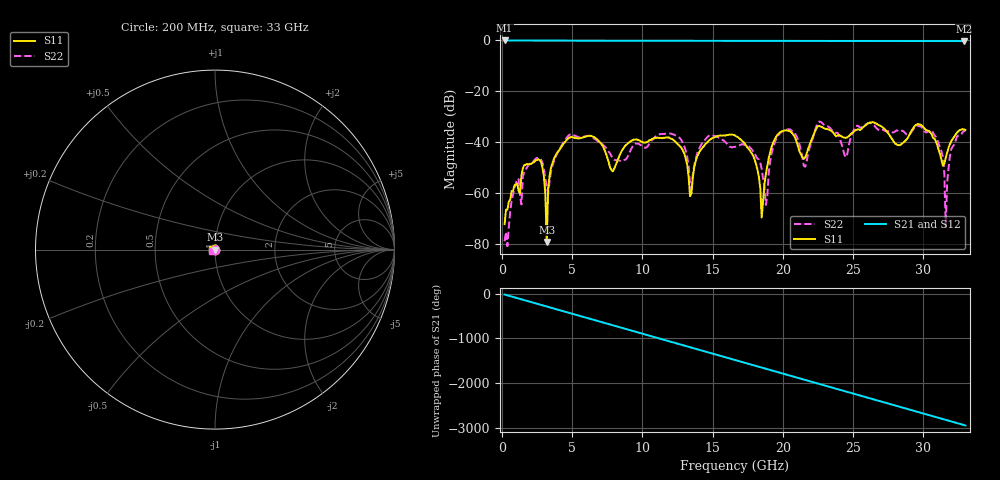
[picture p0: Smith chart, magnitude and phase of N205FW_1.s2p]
# GHZ S RI R 50
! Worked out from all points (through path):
!   329 points, 200 MHz to 33 GHz, reference 50 ohm
!   highest |S21| = -0.02 dB at 200 MHz (marker M1); lowest = -0.3 dB at 32.9 GHz (marker M2)
!   group delay of S21, straight-line fit = 248 ps
!   lowest |S11| = -79.2 dB at 3.2 GHz (marker M3), VSWR 1.00, Z = 50 + j0.00286 ohm
!   |S11| at or under -10 dB: start of sweep to end of sweep
!   |S22| runs from -80.8 to -31.9 dB; largest |S21 - S12| = 0.0022
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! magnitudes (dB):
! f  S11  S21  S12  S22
! 200 MHz  -72.2  0.0  0.0  -78.9
! 2.6 GHz  -46.6  -0.1  -0.1  -46.2
! 3 GHz  -53.5  -0.1  -0.1  -50.7
! 3.2 GHz  -79.2  -0.1  -0.1  -58.0
! 3.3 GHz  -58.1  -0.1  -0.1  -60.1
! 3.6 GHz  -48.3  -0.1  -0.1  -49.3
! 5.7 GHz  -38.3  -0.1  -0.1  -38.0
! 11.2 GHz  -38.3  -0.1  -0.1  -36.9
! 13.4 GHz  -61.2  -0.2  -0.2  -56.3
! 16.6 GHz  -37.3  -0.2  -0.2  -41.8
! 18 GHz  -46.7  -0.2  -0.2  -44.3
! 18.5 GHz  -69.6  -0.2  -0.2  -50.5
! 18.8 GHz  -52.3  -0.2  -0.2  -64.6
! 19.5 GHz  -38.1  -0.2  -0.2  -39.1
! 22.1 GHz  -38.4  -0.2  -0.2  -39.1
! 27.6 GHz  -37.2  -0.2  -0.2  -35.6
! 30.9 GHz  -39.7  -0.3  -0.3  -37.9
! 31.4 GHz  -49.2  -0.3  -0.3  -45.9
! 31.6 GHz  -46.1  -0.3  -0.3  -73.4
! 31.9 GHz  -40.7  -0.3  -0.3  -45.4
! 32.9 GHz  -34.9  -0.3  -0.3  -35.6
! 33 GHz  -35.2  -0.3  -0.3  -35.6
